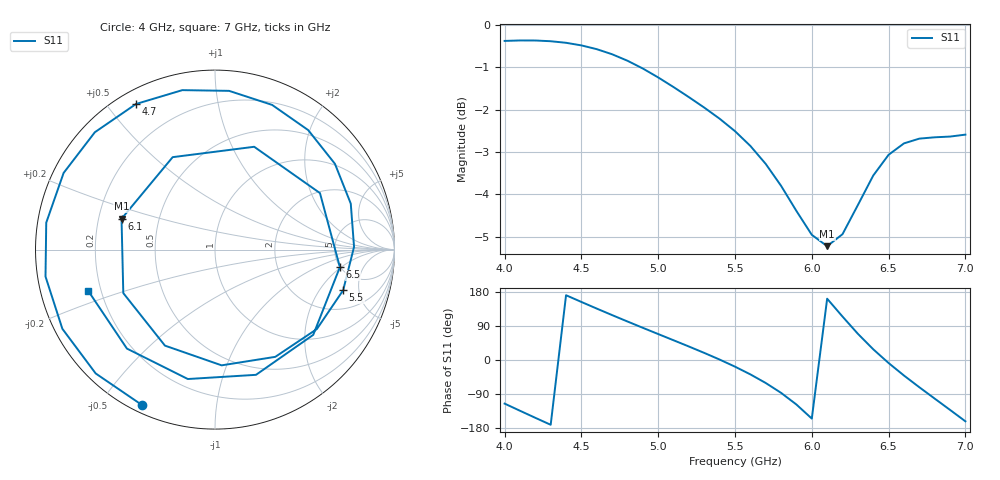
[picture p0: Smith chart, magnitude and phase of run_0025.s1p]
! Touchstone file exported from HFSS 2024.2.0
!  File:  C:/Users/wsak9/Desktop/Sim Fast/Widenad Patch/WP_AI_V1_sweep.aedt
!  Generated:  03:47:22 PM Oct 13, 2026
!  Design:  A1_model
!  Project:  WP_AI_V1_sweep
!  Setup:  Setup1
!  Solution:  Sweep
! Variables:
!  Air_gap = 4.76mm
!  Curve_Amp1 = 1.8
!  Curve_len1 = 1
!  Curve_pos = 9.81mm
!  Extra = 4.56mm
!  H_sub = 0.79mm
!  L_Patch = 15.62mm
!  L_Patch1 = 15.96mm
!  Sx = 2.04mm
!  Sy = 4.24mm
!  WS = 1.46mm
!  W_Patch = 11.82mm
!  W_Patch1 = 11.4mm
!Data is not renormalized
# GHz S MA
! Terminal data exported
! Port[1] = 1
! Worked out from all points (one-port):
!   31 points, 4 GHz to 7 GHz, reference per port
!   lowest |S11| = -5.2 dB at 6.1 GHz (marker M1), VSWR 3.43
!   |S11| at or under -10 dB: nowhere
!   S11 on the Smith chart (normalised r, x): 4 GHz: 0.03, -0.64; 4.7 GHz: 0.05, +0.59; 5.5 GHz: 3.30, -3.40; 6.1 GHz: 0.30, +0.15; 6.5 GHz: 4.96, -1.92; 7 GHz: 0.15, -0.16
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4  0.957 -115.1
4.1  0.9582 -133.9
4.2  0.9581 -152.6
4.3  0.9562 -171.0
4.4  0.9521 170.9
4.5  0.9454 153.2
4.7  0.923 118.5
4.8  0.9069 101.6
4.9  0.8879 84.9
5  0.8667 68.5
5.2  0.8215 35.6
5.4  0.7749 1.1
5.5  0.7491 -17.6
5.6  0.7198 -37.9
5.7  0.6855 -60.7
5.8  0.6459 -86.7
5.9  0.6033 -117.5
6  0.5655 -154.6
6.1  0.5484 161.8
6.2  0.5665 114.6
6.3  0.6131 69.1
6.4  0.6642 28.3
6.5  0.7026 -8.0
6.6  0.7247 -40.9
6.7  0.7341 -71.9
6.8  0.7368 -101.8
6.9  0.7382 -131.7
7  0.7421 -161.8
